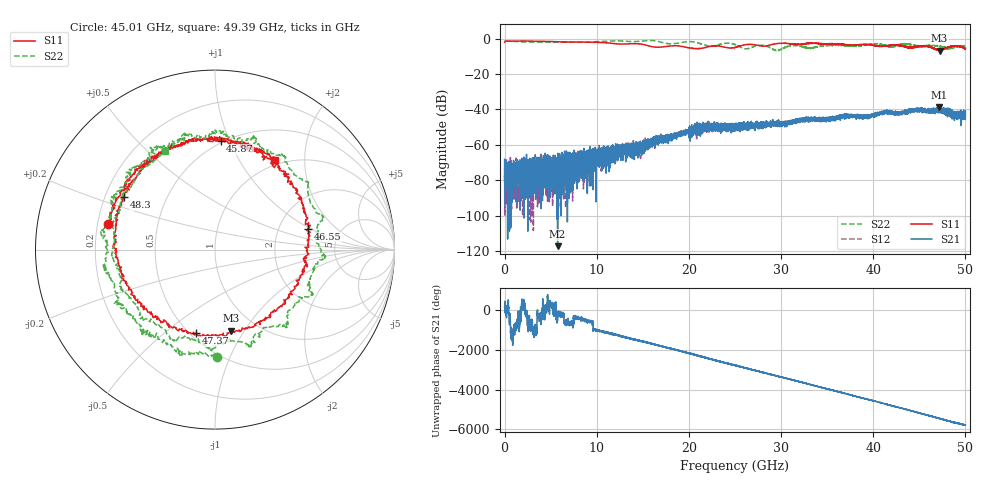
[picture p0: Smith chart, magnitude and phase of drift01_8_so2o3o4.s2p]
!Created with skrf (http://scikit-rf.org).
# Hz S RI R 50.0
!freq ReS11 ImS11 ReS21 ImS21 ReS12 ImS12 ReS22 ImS22
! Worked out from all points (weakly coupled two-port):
!   10001 points, 300 kHz to 50 GHz, reference 50 ohm
!   highest |S21| = -38.78 dB at 47.14 GHz (marker M1); lowest = -117.3 dB at 5.75 GHz (marker M2)
!   lowest |S11| = -6.7 dB at 47.2 GHz (marker M3), VSWR 2.71, Z = 38.2 - j43.8 ohm
!   |S11| at or under -10 dB: nowhere
!   |S22| runs from -6.9 to -1.0 dB; largest |S21 - S12| = 0.0037
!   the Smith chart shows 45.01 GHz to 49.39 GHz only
!   S11 on the Smith chart (normalised r, x): 45.01 GHz: 0.24, +0.11; 45.87 GHz: 0.48, +0.93; 46.55 GHz: 2.94, +0.96; 47.37 GHz: 0.54, -0.65; 48.3 GHz: 0.28, +0.25; 49.39 GHz: 0.92, +1.45
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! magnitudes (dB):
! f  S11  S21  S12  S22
! 300 kHz  -2.1  -68.2  -77.4  -1.3
! 255.3 MHz  -1.4  -76.4  -80.8  -1.4
! 5.75 GHz  -1.8  -117.3  -69.9  -2.0
! 8.335 GHz  -2.0  -68.2  -74.0  -2.1
! 16.67 GHz  -4.9  -60.2  -57.6  -1.6
! 21.49 GHz  -5.4  -49.4  -51.5  -3.3
! 25 GHz  -5.0  -50.7  -51.6  -3.4
! 26.19 GHz  -3.4  -49.3  -48.8  -5.7
! 28.08 GHz  -4.3  -48.3  -48.4  -3.8
! 29.52 GHz  -2.9  -48.3  -47.8  -6.7
! 31.29 GHz  -3.1  -46.9  -47.0  -4.0
! 33.34 GHz  -2.6  -45.5  -44.9  -5.3
! 41.67 GHz  -3.9  -42.0  -41.6  -4.6
! 45.01 GHz  -4.2  -40.7  -40.1  -4.4
! 45.87 GHz  -4.3  -40.0  -40.9  -4.2
! 46.55 GHz  -5.5  -40.3  -39.9  -3.8
! 47.14 GHz  -6.5  -38.8  -40.6  -3.9
! 47.2 GHz  -6.7  -40.5  -39.1  -4.5
! 47.37 GHz  -6.4  -40.4  -40.8  -4.9
! 48.3 GHz  -4.6  -42.0  -41.4  -5.1
! 49.39 GHz  -4.4  -43.5  -44.0  -4.2
! 50 GHz  -5.6  -45.0  -44.2  -4.3
